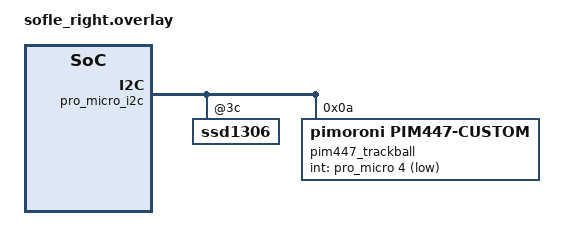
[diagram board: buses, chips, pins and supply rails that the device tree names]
#include <dt-bindings/i2c/i2c.h>

/* Este overlay se aplica al shield sofle_right (central) */
&pro_micro_i2c {                      /* <-- el mismo bus del OLED: i2c@40003000 */
    status = "okay";

    /* OLED display for nice_oled shield */
    ssd1306@3c {
        status = "okay";
    };

    /* Trackball using custom driver */
    pim447_trackball: trackball@a {
        compatible = "pimoroni,pim447-custom";
        reg = <0x0a>;
        status = "okay";
        int-gpios = <&pro_micro 4 GPIO_ACTIVE_LOW>;
    };
};

/ {
    /* Indicar a ZMK que este es el pointing device */
    chosen {
        zmk,pointing-device = &pim447_trackball;
        zephyr,display = &pro_micro_ssd1306;
    };
};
